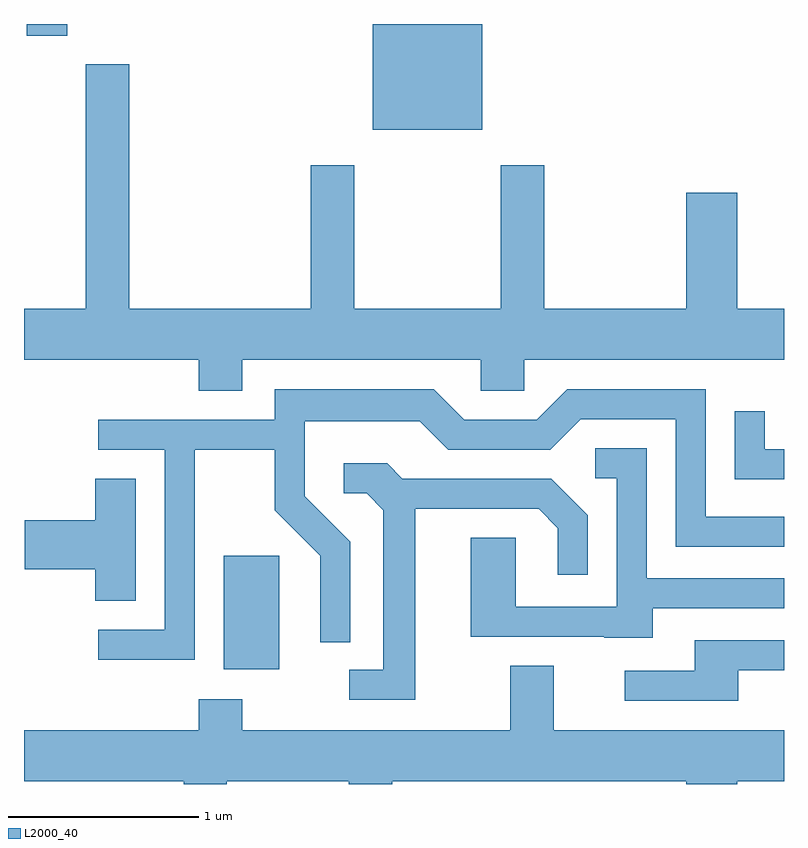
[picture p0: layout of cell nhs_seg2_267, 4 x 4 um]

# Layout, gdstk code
import gdstk
lib = gdstk.Library(unit=1e-6, precision=1e-09)
def R(c, l, rs):  # rectangles x0, y0, x1, y1
    for r in rs: c.add(gdstk.rectangle(r[:2], r[2:], *l))
def P(c, l, *ps):  # polygons
    for p in ps: c.add(gdstk.Polygon(p, *l))
L2000_40 = (2000, 40)

nhs_seg2_267 = lib.new_cell('nhs_seg2_267')
R(nhs_seg2_267, L2000_40, [(192.661,1104.406,192.954,1105.004), (193.446,1107.246,194.024,1107.802), (191.626,1107.741,191.839,1107.802)])
P(nhs_seg2_267, L2000_40, [(192.759,1106.036),(194.016,1106.036),(194.016,1105.871),(194.244,1105.871),(194.244,1106.036),(195.611,1106.036),(195.611,1106.304),(195.364,1106.304),(195.364,1106.914),(195.096,1106.914),(195.096,1106.304),(194.349,1106.304),(194.349,1107.059),(194.121,1107.059),(194.121,1106.304),(193.349,1106.304),(193.349,1107.059),(193.121,1107.059),(193.121,1106.304),(192.164,1106.304),(192.164,1107.589),(191.936,1107.589),(191.936,1106.304),(191.611,1106.304),(191.611,1106.036),(192.531,1106.036),(192.531,1105.871),(192.759,1105.871)],
  [(192.509,1105.561),(192.931,1105.561),(192.931,1105.244),(193.171,1105.004),(193.171,1104.548),(193.329,1104.548),(193.329,1105.077),(193.089,1105.317),(193.089,1105.711),(193.694,1105.711),(193.844,1105.561),(194.382,1105.561),(194.542,1105.721),(195.041,1105.721),(195.041,1105.051),(195.611,1105.051),(195.611,1105.209),(195.199,1105.209),(195.199,1105.879),(194.469,1105.879),(194.309,1105.719),(193.927,1105.719),(193.767,1105.879),(192.931,1105.879),(192.931,1105.719),(192.003,1105.719),(192.003,1105.561),(192.351,1105.561),(192.351,1104.614),(192.003,1104.614),(192.003,1104.456),(192.509,1104.456)],
  [(195.611,1105.564),(195.509,1105.564),(195.509,1105.763),(195.351,1105.763),(195.351,1105.406),(195.611,1105.406)],
  [(194.919,1104.726),(195.611,1104.726),(195.611,1104.884),(194.889,1104.884),(194.889,1105.569),(194.618,1105.569),(194.618,1105.411),(194.731,1105.411),(194.731,1104.734),(194.199,1104.734),(194.199,1105.099),(193.961,1105.099),(193.961,1104.576),(194.665,1104.576),(194.665,1104.571),(194.919,1104.571)],
  [(193.669,1105.251),(194.319,1105.251),(194.421,1105.149),(194.421,1104.903),(194.579,1104.903),(194.579,1105.217),(194.387,1105.409),(193.602,1105.409),(193.522,1105.489),(193.293,1105.489),(193.293,1105.331),(193.414,1105.331),(193.501,1105.244),(193.501,1104.404),(193.323,1104.404),(193.323,1104.246),(193.669,1104.246)],
  [(192.199,1105.409),(191.986,1105.409),(191.986,1105.189),(191.616,1105.189),(191.616,1104.931),(191.986,1104.931),(191.986,1104.766),(192.199,1104.766)],
  [(195.369,1104.401),(195.611,1104.401),(195.611,1104.559),(195.141,1104.559),(195.141,1104.399),(194.773,1104.399),(194.773,1104.241),(195.369,1104.241)],
  [(192.679,1103.816),(193.321,1103.816),(193.321,1103.802),(193.549,1103.802),(193.549,1103.816),(195.096,1103.816),(195.096,1103.802),(195.364,1103.802),(195.364,1103.816),(195.611,1103.816),(195.611,1104.084),(194.399,1104.084),(194.399,1104.424),(194.171,1104.424),(194.171,1104.084),(192.759,1104.084),(192.759,1104.249),(192.531,1104.249),(192.531,1104.084),(191.611,1104.084),(191.611,1103.816),(192.451,1103.816),(192.451,1103.802),(192.679,1103.802)])

lib.write_gds('nhs_seg2_267.gds')
